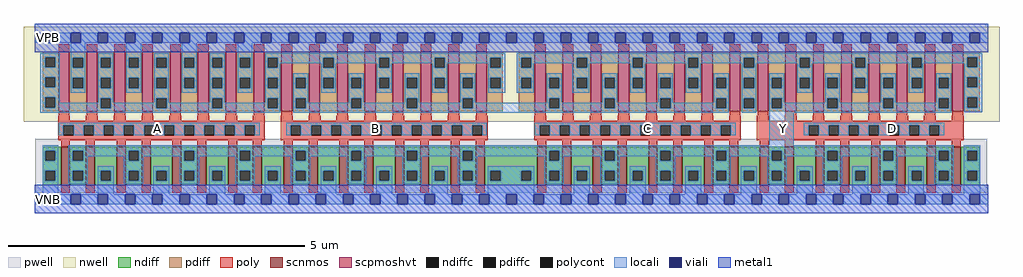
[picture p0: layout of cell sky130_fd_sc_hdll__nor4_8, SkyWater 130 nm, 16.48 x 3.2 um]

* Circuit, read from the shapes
.subckt sky130_fd_sc_hdll__nor4_8 A B C D VGND VNB VPB VPWR Y
XM1 Y A VGND VNB sky130_fd_pr__nfet_01v8 w=0.65 l=0.15 m=8
XM2 Y B VGND VNB sky130_fd_pr__nfet_01v8 w=0.65 l=0.15 m=8
XM3 Y C VGND VNB sky130_fd_pr__nfet_01v8 w=0.65 l=0.15 m=8
XM4 Y D VGND VNB sky130_fd_pr__nfet_01v8 w=0.65 l=0.15 m=8
XM5 VPWR A n1 VPB sky130_fd_pr__pfet_01v8_hvt w=1 l=0.18 m=8
XM6 n2 B n1 VPB sky130_fd_pr__pfet_01v8_hvt w=1 l=0.18 m=8
XM7 n2 C n3 VPB sky130_fd_pr__pfet_01v8_hvt w=1 l=0.18 m=8
XM8 Y D n3 VPB sky130_fd_pr__pfet_01v8_hvt w=1 l=0.18 m=8
.ends

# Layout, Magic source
magic
tech sky130A
magscale 1 2
<< nwell >>
rect -38 261 3258 582
<< pwell >>
rect 1 21 3217 203
rect 30 -17 64 21
<< scnmos >>
rect 89 47 119 177
rect 173 47 203 177
rect 277 47 307 177
rect 361 47 391 177
rect 465 47 495 177
rect 549 47 579 177
rect 653 47 683 177
rect 737 47 767 177
rect 841 47 871 177
rect 925 47 955 177
rect 1029 47 1059 177
rect 1113 47 1143 177
rect 1217 47 1247 177
rect 1301 47 1331 177
rect 1405 47 1435 177
rect 1489 47 1519 177
rect 1697 47 1727 177
rect 1781 47 1811 177
rect 1885 47 1915 177
rect 1969 47 1999 177
rect 2073 47 2103 177
rect 2157 47 2187 177
rect 2261 47 2291 177
rect 2345 47 2375 177
rect 2449 47 2479 177
rect 2533 47 2563 177
rect 2637 47 2667 177
rect 2721 47 2751 177
rect 2825 47 2855 177
rect 2909 47 2939 177
rect 3013 47 3043 177
rect 3097 47 3127 177
<< scpmoshvt >>
rect 81 297 117 497
rect 175 297 211 497
rect 269 297 305 497
rect 363 297 399 497
rect 457 297 493 497
rect 551 297 587 497
rect 645 297 681 497
rect 739 297 775 497
rect 833 297 869 497
rect 927 297 963 497
rect 1021 297 1057 497
rect 1115 297 1151 497
rect 1209 297 1245 497
rect 1303 297 1339 497
rect 1397 297 1433 497
rect 1491 297 1527 497
rect 1689 297 1725 497
rect 1783 297 1819 497
rect 1877 297 1913 497
rect 1971 297 2007 497
rect 2065 297 2101 497
rect 2159 297 2195 497
rect 2253 297 2289 497
rect 2347 297 2383 497
rect 2441 297 2477 497
rect 2535 297 2571 497
rect 2629 297 2665 497
rect 2723 297 2759 497
rect 2817 297 2853 497
rect 2911 297 2947 497
rect 3005 297 3041 497
rect 3099 297 3135 497
<< ndiff >>
rect 27 163 89 177
rect 27 129 35 163
rect 69 129 89 163
rect 27 95 89 129
rect 27 61 35 95
rect 69 61 89 95
rect 27 47 89 61
rect 119 163 173 177
rect 119 129 129 163
rect 163 129 173 163
rect 119 95 173 129
rect 119 61 129 95
rect 163 61 173 95
rect 119 47 173 61
rect 203 95 277 177
rect 203 61 223 95
rect 257 61 277 95
rect 203 47 277 61
rect 307 163 361 177
rect 307 129 317 163
rect 351 129 361 163
rect 307 95 361 129
rect 307 61 317 95
rect 351 61 361 95
rect 307 47 361 61
rect 391 95 465 177
rect 391 61 411 95
rect 445 61 465 95
rect 391 47 465 61
rect 495 163 549 177
rect 495 129 505 163
rect 539 129 549 163
rect 495 95 549 129
rect 495 61 505 95
rect 539 61 549 95
rect 495 47 549 61
rect 579 95 653 177
rect 579 61 599 95
rect 633 61 653 95
rect 579 47 653 61
rect 683 163 737 177
rect 683 129 693 163
rect 727 129 737 163
rect 683 95 737 129
rect 683 61 693 95
rect 727 61 737 95
rect 683 47 737 61
rect 767 95 841 177
rect 767 61 787 95
rect 821 61 841 95
rect 767 47 841 61
rect 871 163 925 177
rect 871 129 881 163
rect 915 129 925 163
rect 871 95 925 129
rect 871 61 881 95
rect 915 61 925 95
rect 871 47 925 61
rect 955 95 1029 177
rect 955 61 975 95
rect 1009 61 1029 95
rect 955 47 1029 61
rect 1059 163 1113 177
rect 1059 129 1069 163
rect 1103 129 1113 163
rect 1059 95 1113 129
rect 1059 61 1069 95
rect 1103 61 1113 95
rect 1059 47 1113 61
rect 1143 95 1217 177
rect 1143 61 1163 95
rect 1197 61 1217 95
rect 1143 47 1217 61
rect 1247 163 1301 177
rect 1247 129 1257 163
rect 1291 129 1301 163
rect 1247 95 1301 129
rect 1247 61 1257 95
rect 1291 61 1301 95
rect 1247 47 1301 61
rect 1331 95 1405 177
rect 1331 61 1351 95
rect 1385 61 1405 95
rect 1331 47 1405 61
rect 1435 163 1489 177
rect 1435 129 1445 163
rect 1479 129 1489 163
rect 1435 95 1489 129
rect 1435 61 1445 95
rect 1479 61 1489 95
rect 1435 47 1489 61
rect 1519 95 1697 177
rect 1519 61 1539 95
rect 1573 61 1643 95
rect 1677 61 1697 95
rect 1519 47 1697 61
rect 1727 163 1781 177
rect 1727 129 1737 163
rect 1771 129 1781 163
rect 1727 95 1781 129
rect 1727 61 1737 95
rect 1771 61 1781 95
rect 1727 47 1781 61
rect 1811 95 1885 177
rect 1811 61 1831 95
rect 1865 61 1885 95
rect 1811 47 1885 61
rect 1915 163 1969 177
rect 1915 129 1925 163
rect 1959 129 1969 163
rect 1915 95 1969 129
rect 1915 61 1925 95
rect 1959 61 1969 95
rect 1915 47 1969 61
rect 1999 95 2073 177
rect 1999 61 2019 95
rect 2053 61 2073 95
rect 1999 47 2073 61
rect 2103 163 2157 177
rect 2103 129 2113 163
rect 2147 129 2157 163
rect 2103 95 2157 129
rect 2103 61 2113 95
rect 2147 61 2157 95
rect 2103 47 2157 61
rect 2187 95 2261 177
rect 2187 61 2207 95
rect 2241 61 2261 95
rect 2187 47 2261 61
rect 2291 163 2345 177
rect 2291 129 2301 163
rect 2335 129 2345 163
rect 2291 95 2345 129
rect 2291 61 2301 95
rect 2335 61 2345 95
rect 2291 47 2345 61
rect 2375 95 2449 177
rect 2375 61 2395 95
rect 2429 61 2449 95
rect 2375 47 2449 61
rect 2479 163 2533 177
rect 2479 129 2489 163
rect 2523 129 2533 163
rect 2479 95 2533 129
rect 2479 61 2489 95
rect 2523 61 2533 95
rect 2479 47 2533 61
rect 2563 95 2637 177
rect 2563 61 2583 95
rect 2617 61 2637 95
rect 2563 47 2637 61
rect 2667 163 2721 177
rect 2667 129 2677 163
rect 2711 129 2721 163
rect 2667 95 2721 129
rect 2667 61 2677 95
rect 2711 61 2721 95
rect 2667 47 2721 61
rect 2751 95 2825 177
rect 2751 61 2771 95
rect 2805 61 2825 95
rect 2751 47 2825 61
rect 2855 163 2909 177
rect 2855 129 2865 163
rect 2899 129 2909 163
rect 2855 95 2909 129
rect 2855 61 2865 95
rect 2899 61 2909 95
rect 2855 47 2909 61
rect 2939 95 3013 177
rect 2939 61 2961 95
rect 2995 61 3013 95
rect 2939 47 3013 61
rect 3043 163 3097 177
rect 3043 129 3053 163
rect 3087 129 3097 163
rect 3043 95 3097 129
rect 3043 61 3053 95
rect 3087 61 3097 95
rect 3043 47 3097 61
rect 3127 163 3191 177
rect 3127 129 3149 163
rect 3183 129 3191 163
rect 3127 95 3191 129
rect 3127 61 3149 95
rect 3183 61 3191 95
rect 3127 47 3191 61
<< pdiff >>
rect 27 479 81 497
rect 27 445 35 479
rect 69 445 81 479
rect 27 411 81 445
rect 27 377 35 411
rect 69 377 81 411
rect 27 343 81 377
rect 27 309 35 343
rect 69 309 81 343
rect 27 297 81 309
rect 117 477 175 497
rect 117 443 129 477
rect 163 443 175 477
rect 117 409 175 443
rect 117 375 129 409
rect 163 375 175 409
rect 117 297 175 375
rect 211 477 269 497
rect 211 443 223 477
rect 257 443 269 477
rect 211 409 269 443
rect 211 375 223 409
rect 257 375 269 409
rect 211 341 269 375
rect 211 307 223 341
rect 257 307 269 341
rect 211 297 269 307
rect 305 477 363 497
rect 305 443 317 477
rect 351 443 363 477
rect 305 409 363 443
rect 305 375 317 409
rect 351 375 363 409
rect 305 297 363 375
rect 399 477 457 497
rect 399 443 411 477
rect 445 443 457 477
rect 399 409 457 443
rect 399 375 411 409
rect 445 375 457 409
rect 399 341 457 375
rect 399 307 411 341
rect 445 307 457 341
rect 399 297 457 307
rect 493 477 551 497
rect 493 443 505 477
rect 539 443 551 477
rect 493 409 551 443
rect 493 375 505 409
rect 539 375 551 409
rect 493 297 551 375
rect 587 477 645 497
rect 587 443 599 477
rect 633 443 645 477
rect 587 409 645 443
rect 587 375 599 409
rect 633 375 645 409
rect 587 341 645 375
rect 587 307 599 341
rect 633 307 645 341
rect 587 297 645 307
rect 681 477 739 497
rect 681 443 693 477
rect 727 443 739 477
rect 681 409 739 443
rect 681 375 693 409
rect 727 375 739 409
rect 681 297 739 375
rect 775 477 833 497
rect 775 443 787 477
rect 821 443 833 477
rect 775 409 833 443
rect 775 375 787 409
rect 821 375 833 409
rect 775 341 833 375
rect 775 307 787 341
rect 821 307 833 341
rect 775 297 833 307
rect 869 409 927 497
rect 869 375 881 409
rect 915 375 927 409
rect 869 341 927 375
rect 869 307 881 341
rect 915 307 927 341
rect 869 297 927 307
rect 963 477 1021 497
rect 963 443 975 477
rect 1009 443 1021 477
rect 963 409 1021 443
rect 963 375 975 409
rect 1009 375 1021 409
rect 963 297 1021 375
rect 1057 409 1115 497
rect 1057 375 1069 409
rect 1103 375 1115 409
rect 1057 341 1115 375
rect 1057 307 1069 341
rect 1103 307 1115 341
rect 1057 297 1115 307
rect 1151 477 1209 497
rect 1151 443 1163 477
rect 1197 443 1209 477
rect 1151 409 1209 443
rect 1151 375 1163 409
rect 1197 375 1209 409
rect 1151 297 1209 375
rect 1245 409 1303 497
rect 1245 375 1257 409
rect 1291 375 1303 409
rect 1245 341 1303 375
rect 1245 307 1257 341
rect 1291 307 1303 341
rect 1245 297 1303 307
rect 1339 477 1397 497
rect 1339 443 1351 477
rect 1385 443 1397 477
rect 1339 409 1397 443
rect 1339 375 1351 409
rect 1385 375 1397 409
rect 1339 297 1397 375
rect 1433 409 1491 497
rect 1433 375 1445 409
rect 1479 375 1491 409
rect 1433 341 1491 375
rect 1433 307 1445 341
rect 1479 307 1491 341
rect 1433 297 1491 307
rect 1527 477 1581 497
rect 1527 443 1539 477
rect 1573 443 1581 477
rect 1527 409 1581 443
rect 1527 375 1539 409
rect 1573 375 1581 409
rect 1527 297 1581 375
rect 1635 477 1689 497
rect 1635 443 1643 477
rect 1677 443 1689 477
rect 1635 409 1689 443
rect 1635 375 1643 409
rect 1677 375 1689 409
rect 1635 297 1689 375
rect 1725 409 1783 497
rect 1725 375 1737 409
rect 1771 375 1783 409
rect 1725 341 1783 375
rect 1725 307 1737 341
rect 1771 307 1783 341
rect 1725 297 1783 307
rect 1819 477 1877 497
rect 1819 443 1831 477
rect 1865 443 1877 477
rect 1819 409 1877 443
rect 1819 375 1831 409
rect 1865 375 1877 409
rect 1819 297 1877 375
rect 1913 409 1971 497
rect 1913 375 1925 409
rect 1959 375 1971 409
rect 1913 341 1971 375
rect 1913 307 1925 341
rect 1959 307 1971 341
rect 1913 297 1971 307
rect 2007 477 2065 497
rect 2007 443 2019 477
rect 2053 443 2065 477
rect 2007 409 2065 443
rect 2007 375 2019 409
rect 2053 375 2065 409
rect 2007 297 2065 375
rect 2101 409 2159 497
rect 2101 375 2113 409
rect 2147 375 2159 409
rect 2101 341 2159 375
rect 2101 307 2113 341
rect 2147 307 2159 341
rect 2101 297 2159 307
rect 2195 477 2253 497
rect 2195 443 2207 477
rect 2241 443 2253 477
rect 2195 409 2253 443
rect 2195 375 2207 409
rect 2241 375 2253 409
rect 2195 297 2253 375
rect 2289 409 2347 497
rect 2289 375 2301 409
rect 2335 375 2347 409
rect 2289 341 2347 375
rect 2289 307 2301 341
rect 2335 307 2347 341
rect 2289 297 2347 307
rect 2383 477 2441 497
rect 2383 443 2395 477
rect 2429 443 2441 477
rect 2383 409 2441 443
rect 2383 375 2395 409
rect 2429 375 2441 409
rect 2383 341 2441 375
rect 2383 307 2395 341
rect 2429 307 2441 341
rect 2383 297 2441 307
rect 2477 409 2535 497
rect 2477 375 2489 409
rect 2523 375 2535 409
rect 2477 341 2535 375
rect 2477 307 2489 341
rect 2523 307 2535 341
rect 2477 297 2535 307
rect 2571 477 2629 497
rect 2571 443 2583 477
rect 2617 443 2629 477
rect 2571 409 2629 443
rect 2571 375 2583 409
rect 2617 375 2629 409
rect 2571 297 2629 375
rect 2665 409 2723 497
rect 2665 375 2677 409
rect 2711 375 2723 409
rect 2665 341 2723 375
rect 2665 307 2677 341
rect 2711 307 2723 341
rect 2665 297 2723 307
rect 2759 477 2817 497
rect 2759 443 2771 477
rect 2805 443 2817 477
rect 2759 409 2817 443
rect 2759 375 2771 409
rect 2805 375 2817 409
rect 2759 297 2817 375
rect 2853 409 2911 497
rect 2853 375 2865 409
rect 2899 375 2911 409
rect 2853 341 2911 375
rect 2853 307 2865 341
rect 2899 307 2911 341
rect 2853 297 2911 307
rect 2947 477 3005 497
rect 2947 443 2961 477
rect 2995 443 3005 477
rect 2947 409 3005 443
rect 2947 375 2961 409
rect 2995 375 3005 409
rect 2947 297 3005 375
rect 3041 409 3099 497
rect 3041 375 3053 409
rect 3087 375 3099 409
rect 3041 341 3099 375
rect 3041 307 3053 341
rect 3087 307 3099 341
rect 3041 297 3099 307
rect 3135 479 3191 497
rect 3135 445 3149 479
rect 3183 445 3191 479
rect 3135 411 3191 445
rect 3135 377 3149 411
rect 3183 377 3191 411
rect 3135 343 3191 377
rect 3135 309 3149 343
rect 3183 309 3191 343
rect 3135 297 3191 309
<< ndiffc >>
rect 35 129 69 163
rect 35 61 69 95
rect 129 129 163 163
rect 129 61 163 95
rect 223 61 257 95
rect 317 129 351 163
rect 317 61 351 95
rect 411 61 445 95
rect 505 129 539 163
rect 505 61 539 95
rect 599 61 633 95
rect 693 129 727 163
rect 693 61 727 95
rect 787 61 821 95
rect 881 129 915 163
rect 881 61 915 95
rect 975 61 1009 95
rect 1069 129 1103 163
rect 1069 61 1103 95
rect 1163 61 1197 95
rect 1257 129 1291 163
rect 1257 61 1291 95
rect 1351 61 1385 95
rect 1445 129 1479 163
rect 1445 61 1479 95
rect 1539 61 1573 95
rect 1643 61 1677 95
rect 1737 129 1771 163
rect 1737 61 1771 95
rect 1831 61 1865 95
rect 1925 129 1959 163
rect 1925 61 1959 95
rect 2019 61 2053 95
rect 2113 129 2147 163
rect 2113 61 2147 95
rect 2207 61 2241 95
rect 2301 129 2335 163
rect 2301 61 2335 95
rect 2395 61 2429 95
rect 2489 129 2523 163
rect 2489 61 2523 95
rect 2583 61 2617 95
rect 2677 129 2711 163
rect 2677 61 2711 95
rect 2771 61 2805 95
rect 2865 129 2899 163
rect 2865 61 2899 95
rect 2961 61 2995 95
rect 3053 129 3087 163
rect 3053 61 3087 95
rect 3149 129 3183 163
rect 3149 61 3183 95
<< pdiffc >>
rect 35 445 69 479
rect 35 377 69 411
rect 35 309 69 343
rect 129 443 163 477
rect 129 375 163 409
rect 223 443 257 477
rect 223 375 257 409
rect 223 307 257 341
rect 317 443 351 477
rect 317 375 351 409
rect 411 443 445 477
rect 411 375 445 409
rect 411 307 445 341
rect 505 443 539 477
rect 505 375 539 409
rect 599 443 633 477
rect 599 375 633 409
rect 599 307 633 341
rect 693 443 727 477
rect 693 375 727 409
rect 787 443 821 477
rect 787 375 821 409
rect 787 307 821 341
rect 881 375 915 409
rect 881 307 915 341
rect 975 443 1009 477
rect 975 375 1009 409
rect 1069 375 1103 409
rect 1069 307 1103 341
rect 1163 443 1197 477
rect 1163 375 1197 409
rect 1257 375 1291 409
rect 1257 307 1291 341
rect 1351 443 1385 477
rect 1351 375 1385 409
rect 1445 375 1479 409
rect 1445 307 1479 341
rect 1539 443 1573 477
rect 1539 375 1573 409
rect 1643 443 1677 477
rect 1643 375 1677 409
rect 1737 375 1771 409
rect 1737 307 1771 341
rect 1831 443 1865 477
rect 1831 375 1865 409
rect 1925 375 1959 409
rect 1925 307 1959 341
rect 2019 443 2053 477
rect 2019 375 2053 409
rect 2113 375 2147 409
rect 2113 307 2147 341
rect 2207 443 2241 477
rect 2207 375 2241 409
rect 2301 375 2335 409
rect 2301 307 2335 341
rect 2395 443 2429 477
rect 2395 375 2429 409
rect 2395 307 2429 341
rect 2489 375 2523 409
rect 2489 307 2523 341
rect 2583 443 2617 477
rect 2583 375 2617 409
rect 2677 375 2711 409
rect 2677 307 2711 341
rect 2771 443 2805 477
rect 2771 375 2805 409
rect 2865 375 2899 409
rect 2865 307 2899 341
rect 2961 443 2995 477
rect 2961 375 2995 409
rect 3053 375 3087 409
rect 3053 307 3087 341
rect 3149 445 3183 479
rect 3149 377 3183 411
rect 3149 309 3183 343
<< poly >>
rect 81 497 117 523
rect 175 497 211 523
rect 269 497 305 523
rect 363 497 399 523
rect 457 497 493 523
rect 551 497 587 523
rect 645 497 681 523
rect 739 497 775 523
rect 833 497 869 523
rect 927 497 963 523
rect 1021 497 1057 523
rect 1115 497 1151 523
rect 1209 497 1245 523
rect 1303 497 1339 523
rect 1397 497 1433 523
rect 1491 497 1527 523
rect 1689 497 1725 523
rect 1783 497 1819 523
rect 1877 497 1913 523
rect 1971 497 2007 523
rect 2065 497 2101 523
rect 2159 497 2195 523
rect 2253 497 2289 523
rect 2347 497 2383 523
rect 2441 497 2477 523
rect 2535 497 2571 523
rect 2629 497 2665 523
rect 2723 497 2759 523
rect 2817 497 2853 523
rect 2911 497 2947 523
rect 3005 497 3041 523
rect 3099 497 3135 523
rect 81 282 117 297
rect 175 282 211 297
rect 269 282 305 297
rect 363 282 399 297
rect 457 282 493 297
rect 551 282 587 297
rect 645 282 681 297
rect 739 282 775 297
rect 833 282 869 297
rect 927 282 963 297
rect 1021 282 1057 297
rect 1115 282 1151 297
rect 1209 282 1245 297
rect 1303 282 1339 297
rect 1397 282 1433 297
rect 1491 282 1527 297
rect 1689 282 1725 297
rect 1783 282 1819 297
rect 1877 282 1913 297
rect 1971 282 2007 297
rect 2065 282 2101 297
rect 2159 282 2195 297
rect 2253 282 2289 297
rect 2347 282 2383 297
rect 2441 282 2477 297
rect 2535 282 2571 297
rect 2629 282 2665 297
rect 2723 282 2759 297
rect 2817 282 2853 297
rect 2911 282 2947 297
rect 3005 282 3041 297
rect 3099 282 3135 297
rect 79 265 119 282
rect 173 265 213 282
rect 267 265 307 282
rect 361 265 401 282
rect 455 265 495 282
rect 549 265 589 282
rect 643 265 683 282
rect 737 265 777 282
rect 79 249 777 265
rect 79 215 97 249
rect 131 215 165 249
rect 199 215 233 249
rect 267 215 301 249
rect 335 215 369 249
rect 403 215 437 249
rect 471 215 505 249
rect 539 215 573 249
rect 607 215 641 249
rect 675 215 709 249
rect 743 215 777 249
rect 79 199 777 215
rect 831 265 871 282
rect 925 265 965 282
rect 1019 265 1059 282
rect 1113 265 1153 282
rect 1207 265 1247 282
rect 1301 265 1341 282
rect 1395 265 1435 282
rect 1489 265 1529 282
rect 831 249 1529 265
rect 831 215 865 249
rect 899 215 933 249
rect 967 215 1001 249
rect 1035 215 1069 249
rect 1103 215 1137 249
rect 1171 215 1205 249
rect 1239 215 1273 249
rect 1307 215 1341 249
rect 1375 215 1409 249
rect 1443 215 1477 249
rect 1511 215 1529 249
rect 831 199 1529 215
rect 1687 265 1727 282
rect 1781 265 1821 282
rect 1875 265 1915 282
rect 1969 265 2009 282
rect 2063 265 2103 282
rect 2157 265 2197 282
rect 2251 265 2291 282
rect 2345 265 2385 282
rect 1687 249 2385 265
rect 1687 215 1705 249
rect 1739 215 1773 249
rect 1807 215 1841 249
rect 1875 215 1909 249
rect 1943 215 1977 249
rect 2011 215 2045 249
rect 2079 215 2113 249
rect 2147 215 2181 249
rect 2215 215 2249 249
rect 2283 215 2317 249
rect 2351 215 2385 249
rect 1687 199 2385 215
rect 2439 265 2479 282
rect 2533 265 2573 282
rect 2627 265 2667 282
rect 2721 265 2761 282
rect 2815 265 2855 282
rect 2909 265 2949 282
rect 3003 265 3043 282
rect 3097 265 3137 282
rect 2439 249 3137 265
rect 2439 215 2613 249
rect 2647 215 2681 249
rect 2715 215 2749 249
rect 2783 215 2817 249
rect 2851 215 2885 249
rect 2919 215 2953 249
rect 2987 215 3021 249
rect 3055 215 3137 249
rect 2439 199 3137 215
rect 89 177 119 199
rect 173 177 203 199
rect 277 177 307 199
rect 361 177 391 199
rect 465 177 495 199
rect 549 177 579 199
rect 653 177 683 199
rect 737 177 767 199
rect 841 177 871 199
rect 925 177 955 199
rect 1029 177 1059 199
rect 1113 177 1143 199
rect 1217 177 1247 199
rect 1301 177 1331 199
rect 1405 177 1435 199
rect 1489 177 1519 199
rect 1697 177 1727 199
rect 1781 177 1811 199
rect 1885 177 1915 199
rect 1969 177 1999 199
rect 2073 177 2103 199
rect 2157 177 2187 199
rect 2261 177 2291 199
rect 2345 177 2375 199
rect 2449 177 2479 199
rect 2533 177 2563 199
rect 2637 177 2667 199
rect 2721 177 2751 199
rect 2825 177 2855 199
rect 2909 177 2939 199
rect 3013 177 3043 199
rect 3097 177 3127 199
rect 89 21 119 47
rect 173 21 203 47
rect 277 21 307 47
rect 361 21 391 47
rect 465 21 495 47
rect 549 21 579 47
rect 653 21 683 47
rect 737 21 767 47
rect 841 21 871 47
rect 925 21 955 47
rect 1029 21 1059 47
rect 1113 21 1143 47
rect 1217 21 1247 47
rect 1301 21 1331 47
rect 1405 21 1435 47
rect 1489 21 1519 47
rect 1697 21 1727 47
rect 1781 21 1811 47
rect 1885 21 1915 47
rect 1969 21 1999 47
rect 2073 21 2103 47
rect 2157 21 2187 47
rect 2261 21 2291 47
rect 2345 21 2375 47
rect 2449 21 2479 47
rect 2533 21 2563 47
rect 2637 21 2667 47
rect 2721 21 2751 47
rect 2825 21 2855 47
rect 2909 21 2939 47
rect 3013 21 3043 47
rect 3097 21 3127 47
<< polycont >>
rect 97 215 131 249
rect 165 215 199 249
rect 233 215 267 249
rect 301 215 335 249
rect 369 215 403 249
rect 437 215 471 249
rect 505 215 539 249
rect 573 215 607 249
rect 641 215 675 249
rect 709 215 743 249
rect 865 215 899 249
rect 933 215 967 249
rect 1001 215 1035 249
rect 1069 215 1103 249
rect 1137 215 1171 249
rect 1205 215 1239 249
rect 1273 215 1307 249
rect 1341 215 1375 249
rect 1409 215 1443 249
rect 1477 215 1511 249
rect 1705 215 1739 249
rect 1773 215 1807 249
rect 1841 215 1875 249
rect 1909 215 1943 249
rect 1977 215 2011 249
rect 2045 215 2079 249
rect 2113 215 2147 249
rect 2181 215 2215 249
rect 2249 215 2283 249
rect 2317 215 2351 249
rect 2613 215 2647 249
rect 2681 215 2715 249
rect 2749 215 2783 249
rect 2817 215 2851 249
rect 2885 215 2919 249
rect 2953 215 2987 249
rect 3021 215 3055 249
<< locali >>
rect 0 527 29 561
rect 63 527 121 561
rect 155 527 213 561
rect 247 527 305 561
rect 339 527 397 561
rect 431 527 489 561
rect 523 527 581 561
rect 615 527 673 561
rect 707 527 765 561
rect 799 527 857 561
rect 891 527 949 561
rect 983 527 1041 561
rect 1075 527 1133 561
rect 1167 527 1225 561
rect 1259 527 1317 561
rect 1351 527 1409 561
rect 1443 527 1501 561
rect 1535 527 1593 561
rect 1627 527 1685 561
rect 1719 527 1777 561
rect 1811 527 1869 561
rect 1903 527 1961 561
rect 1995 527 2053 561
rect 2087 527 2145 561
rect 2179 527 2237 561
rect 2271 527 2329 561
rect 2363 527 2421 561
rect 2455 527 2513 561
rect 2547 527 2605 561
rect 2639 527 2697 561
rect 2731 527 2789 561
rect 2823 527 2881 561
rect 2915 527 2973 561
rect 3007 527 3065 561
rect 3099 527 3157 561
rect 3191 527 3220 561
rect 19 479 85 493
rect 19 445 35 479
rect 69 445 85 479
rect 19 411 85 445
rect 19 377 35 411
rect 69 377 85 411
rect 19 343 85 377
rect 121 477 171 527
rect 121 443 129 477
rect 163 443 171 477
rect 121 409 171 443
rect 121 375 129 409
rect 163 375 171 409
rect 121 359 171 375
rect 215 477 265 493
rect 215 443 223 477
rect 257 443 265 477
rect 215 409 265 443
rect 215 375 223 409
rect 257 375 265 409
rect 19 309 35 343
rect 69 325 85 343
rect 215 341 265 375
rect 309 477 359 527
rect 309 443 317 477
rect 351 443 359 477
rect 309 409 359 443
rect 309 375 317 409
rect 351 375 359 409
rect 309 359 359 375
rect 403 477 453 493
rect 403 443 411 477
rect 445 443 453 477
rect 403 409 453 443
rect 403 375 411 409
rect 445 375 453 409
rect 215 325 223 341
rect 69 309 223 325
rect 19 307 223 309
rect 257 325 265 341
rect 403 341 453 375
rect 497 477 547 527
rect 497 443 505 477
rect 539 443 547 477
rect 497 409 547 443
rect 497 375 505 409
rect 539 375 547 409
rect 497 359 547 375
rect 591 477 641 493
rect 591 443 599 477
rect 633 443 641 477
rect 591 409 641 443
rect 591 375 599 409
rect 633 375 641 409
rect 403 325 411 341
rect 257 307 411 325
rect 445 325 453 341
rect 591 341 641 375
rect 685 477 735 527
rect 685 443 693 477
rect 727 443 735 477
rect 685 409 735 443
rect 685 375 693 409
rect 727 375 735 409
rect 685 359 735 375
rect 779 477 1589 493
rect 779 443 787 477
rect 821 459 975 477
rect 821 443 829 459
rect 779 409 829 443
rect 967 443 975 459
rect 1009 459 1163 477
rect 1009 443 1017 459
rect 779 375 787 409
rect 821 375 829 409
rect 591 325 599 341
rect 445 307 599 325
rect 633 325 641 341
rect 779 341 829 375
rect 779 325 787 341
rect 633 307 787 325
rect 821 307 829 341
rect 19 291 829 307
rect 873 409 923 425
rect 873 375 881 409
rect 915 375 923 409
rect 873 341 923 375
rect 967 409 1017 443
rect 1155 443 1163 459
rect 1197 459 1351 477
rect 1197 443 1205 459
rect 967 375 975 409
rect 1009 375 1017 409
rect 967 359 1017 375
rect 1061 409 1111 425
rect 1061 375 1069 409
rect 1103 375 1111 409
rect 873 307 881 341
rect 915 325 923 341
rect 1061 341 1111 375
rect 1155 409 1205 443
rect 1343 443 1351 459
rect 1385 459 1539 477
rect 1385 443 1393 459
rect 1155 375 1163 409
rect 1197 375 1205 409
rect 1155 359 1205 375
rect 1249 409 1299 425
rect 1249 375 1257 409
rect 1291 375 1299 409
rect 1061 325 1069 341
rect 915 307 1069 325
rect 1103 325 1111 341
rect 1249 341 1299 375
rect 1343 409 1393 443
rect 1531 443 1539 459
rect 1573 443 1589 477
rect 1343 375 1351 409
rect 1385 375 1393 409
rect 1343 359 1393 375
rect 1437 409 1487 425
rect 1437 375 1445 409
rect 1479 375 1487 409
rect 1249 325 1257 341
rect 1103 307 1257 325
rect 1291 325 1299 341
rect 1437 341 1487 375
rect 1531 409 1589 443
rect 1531 375 1539 409
rect 1573 375 1589 409
rect 1531 359 1589 375
rect 1627 479 3199 493
rect 1627 477 3149 479
rect 1627 443 1643 477
rect 1677 459 1831 477
rect 1677 443 1685 459
rect 1627 409 1685 443
rect 1815 443 1831 459
rect 1865 459 2019 477
rect 1865 443 1873 459
rect 1627 375 1643 409
rect 1677 375 1685 409
rect 1627 359 1685 375
rect 1729 409 1779 425
rect 1729 375 1737 409
rect 1771 375 1779 409
rect 1437 325 1445 341
rect 1291 307 1445 325
rect 1479 325 1487 341
rect 1729 341 1779 375
rect 1815 409 1873 443
rect 2011 443 2019 459
rect 2053 459 2207 477
rect 2053 443 2061 459
rect 1815 375 1831 409
rect 1865 375 1873 409
rect 1815 359 1873 375
rect 1917 409 1967 425
rect 1917 375 1925 409
rect 1959 375 1967 409
rect 1729 325 1737 341
rect 1479 307 1737 325
rect 1771 325 1779 341
rect 1917 341 1967 375
rect 2011 409 2061 443
rect 2199 443 2207 459
rect 2241 459 2395 477
rect 2241 443 2249 459
rect 2011 375 2019 409
rect 2053 375 2061 409
rect 2011 359 2061 375
rect 2105 409 2155 425
rect 2105 375 2113 409
rect 2147 375 2155 409
rect 1917 325 1925 341
rect 1771 307 1925 325
rect 1959 325 1967 341
rect 2105 341 2155 375
rect 2199 409 2249 443
rect 2387 443 2395 459
rect 2429 459 2583 477
rect 2429 443 2437 459
rect 2199 375 2207 409
rect 2241 375 2249 409
rect 2199 359 2249 375
rect 2293 409 2343 425
rect 2293 375 2301 409
rect 2335 375 2343 409
rect 2105 325 2113 341
rect 1959 307 2113 325
rect 2147 325 2155 341
rect 2293 341 2343 375
rect 2293 325 2301 341
rect 2147 307 2301 325
rect 2335 307 2343 341
rect 873 291 2343 307
rect 2387 409 2437 443
rect 2575 443 2583 459
rect 2617 459 2771 477
rect 2617 443 2625 459
rect 2387 375 2395 409
rect 2429 375 2437 409
rect 2387 341 2437 375
rect 2387 307 2395 341
rect 2429 307 2437 341
rect 2387 291 2437 307
rect 2481 409 2531 425
rect 2481 375 2489 409
rect 2523 375 2531 409
rect 2481 341 2531 375
rect 2575 409 2625 443
rect 2763 443 2771 459
rect 2805 459 2961 477
rect 2805 443 2813 459
rect 2575 375 2583 409
rect 2617 375 2625 409
rect 2575 359 2625 375
rect 2669 409 2719 425
rect 2669 375 2677 409
rect 2711 375 2719 409
rect 2481 307 2489 341
rect 2523 325 2531 341
rect 2669 341 2719 375
rect 2763 409 2813 443
rect 2951 443 2961 459
rect 2995 459 3149 477
rect 2995 443 3001 459
rect 2763 375 2771 409
rect 2805 375 2813 409
rect 2763 359 2813 375
rect 2857 409 2907 425
rect 2857 375 2865 409
rect 2899 375 2907 409
rect 2669 325 2677 341
rect 2523 307 2677 325
rect 2711 325 2719 341
rect 2857 341 2907 375
rect 2951 409 3001 443
rect 3139 445 3149 459
rect 3183 445 3199 479
rect 2951 375 2961 409
rect 2995 375 3001 409
rect 2951 359 3001 375
rect 3045 409 3095 425
rect 3045 375 3053 409
rect 3087 375 3095 409
rect 2857 325 2865 341
rect 2711 307 2865 325
rect 2899 325 2907 341
rect 3045 341 3095 375
rect 3045 325 3053 341
rect 2899 307 3053 325
rect 3087 307 3095 341
rect 2481 291 3095 307
rect 3139 411 3199 445
rect 3139 377 3149 411
rect 3183 377 3199 411
rect 3139 343 3199 377
rect 3139 309 3149 343
rect 3183 309 3199 343
rect 3139 293 3199 309
rect 81 249 759 257
rect 81 215 97 249
rect 131 215 165 249
rect 199 215 233 249
rect 267 215 301 249
rect 335 215 369 249
rect 403 215 437 249
rect 471 215 505 249
rect 539 215 573 249
rect 607 215 641 249
rect 675 215 709 249
rect 743 215 759 249
rect 849 249 1527 257
rect 849 215 865 249
rect 899 215 933 249
rect 967 215 1001 249
rect 1035 215 1069 249
rect 1103 215 1137 249
rect 1171 215 1205 249
rect 1239 215 1273 249
rect 1307 215 1341 249
rect 1375 215 1409 249
rect 1443 215 1477 249
rect 1511 215 1527 249
rect 1689 249 2367 257
rect 1689 215 1705 249
rect 1739 215 1773 249
rect 1807 215 1841 249
rect 1875 215 1909 249
rect 1943 215 1977 249
rect 2011 215 2045 249
rect 2079 215 2113 249
rect 2147 215 2181 249
rect 2215 215 2249 249
rect 2283 215 2317 249
rect 2351 215 2367 249
rect 2481 181 2563 291
rect 2597 249 3071 257
rect 2597 215 2613 249
rect 2647 215 2681 249
rect 2715 215 2749 249
rect 2783 215 2817 249
rect 2851 215 2885 249
rect 2919 215 2953 249
rect 2987 215 3021 249
rect 3055 215 3071 249
rect 27 163 79 181
rect 27 129 35 163
rect 69 129 79 163
rect 27 95 79 129
rect 27 61 35 95
rect 69 61 79 95
rect 27 17 79 61
rect 113 163 3103 181
rect 113 129 129 163
rect 163 145 317 163
rect 163 129 179 145
rect 113 95 179 129
rect 301 129 317 145
rect 351 145 505 163
rect 351 129 367 145
rect 113 61 129 95
rect 163 61 179 95
rect 113 51 179 61
rect 213 95 267 111
rect 213 61 223 95
rect 257 61 267 95
rect 213 17 267 61
rect 301 95 367 129
rect 489 129 505 145
rect 539 145 693 163
rect 539 129 555 145
rect 301 61 317 95
rect 351 61 367 95
rect 301 51 367 61
rect 401 95 455 111
rect 401 61 411 95
rect 445 61 455 95
rect 401 17 455 61
rect 489 95 555 129
rect 677 129 693 145
rect 727 145 881 163
rect 727 129 743 145
rect 489 61 505 95
rect 539 61 555 95
rect 489 51 555 61
rect 589 95 643 111
rect 589 61 599 95
rect 633 61 643 95
rect 589 17 643 61
rect 677 95 743 129
rect 865 129 881 145
rect 915 145 1069 163
rect 915 129 931 145
rect 677 61 693 95
rect 727 61 743 95
rect 677 51 743 61
rect 777 95 831 111
rect 777 61 787 95
rect 821 61 831 95
rect 777 17 831 61
rect 865 95 931 129
rect 1053 129 1069 145
rect 1103 145 1257 163
rect 1103 129 1119 145
rect 865 61 881 95
rect 915 61 931 95
rect 865 51 931 61
rect 965 95 1019 111
rect 965 61 975 95
rect 1009 61 1019 95
rect 965 17 1019 61
rect 1053 95 1119 129
rect 1241 129 1257 145
rect 1291 145 1445 163
rect 1291 129 1307 145
rect 1053 61 1069 95
rect 1103 61 1119 95
rect 1053 51 1119 61
rect 1153 95 1207 111
rect 1153 61 1163 95
rect 1197 61 1207 95
rect 1153 17 1207 61
rect 1241 95 1307 129
rect 1429 129 1445 145
rect 1479 145 1737 163
rect 1479 129 1495 145
rect 1241 61 1257 95
rect 1291 61 1307 95
rect 1241 51 1307 61
rect 1341 95 1395 111
rect 1341 61 1351 95
rect 1385 61 1395 95
rect 1341 17 1395 61
rect 1429 95 1495 129
rect 1721 129 1737 145
rect 1771 145 1925 163
rect 1771 129 1787 145
rect 1429 61 1445 95
rect 1479 61 1495 95
rect 1429 51 1495 61
rect 1529 95 1687 111
rect 1529 61 1539 95
rect 1573 61 1643 95
rect 1677 61 1687 95
rect 1529 17 1687 61
rect 1721 95 1787 129
rect 1909 129 1925 145
rect 1959 145 2113 163
rect 1959 129 1975 145
rect 1721 61 1737 95
rect 1771 61 1787 95
rect 1721 51 1787 61
rect 1821 95 1875 111
rect 1821 61 1831 95
rect 1865 61 1875 95
rect 1821 17 1875 61
rect 1909 95 1975 129
rect 2097 129 2113 145
rect 2147 145 2301 163
rect 2147 129 2163 145
rect 1909 61 1925 95
rect 1959 61 1975 95
rect 1909 51 1975 61
rect 2009 95 2063 111
rect 2009 61 2019 95
rect 2053 61 2063 95
rect 2009 17 2063 61
rect 2097 95 2163 129
rect 2285 129 2301 145
rect 2335 145 2489 163
rect 2335 129 2351 145
rect 2097 61 2113 95
rect 2147 61 2163 95
rect 2097 51 2163 61
rect 2197 95 2251 111
rect 2197 61 2207 95
rect 2241 61 2251 95
rect 2197 17 2251 61
rect 2285 95 2351 129
rect 2473 129 2489 145
rect 2523 145 2677 163
rect 2523 129 2539 145
rect 2285 61 2301 95
rect 2335 61 2351 95
rect 2285 51 2351 61
rect 2385 95 2439 111
rect 2385 61 2395 95
rect 2429 61 2439 95
rect 2385 17 2439 61
rect 2473 95 2539 129
rect 2661 129 2677 145
rect 2711 145 2865 163
rect 2711 129 2727 145
rect 2473 61 2489 95
rect 2523 61 2539 95
rect 2473 51 2539 61
rect 2573 95 2627 111
rect 2573 61 2583 95
rect 2617 61 2627 95
rect 2573 17 2627 61
rect 2661 95 2727 129
rect 2849 129 2865 145
rect 2899 145 3053 163
rect 2899 129 2915 145
rect 2661 61 2677 95
rect 2711 61 2727 95
rect 2661 51 2727 61
rect 2761 95 2815 111
rect 2761 61 2771 95
rect 2805 61 2815 95
rect 2761 17 2815 61
rect 2849 95 2915 129
rect 3037 129 3053 145
rect 3087 129 3103 163
rect 2849 61 2865 95
rect 2899 61 2915 95
rect 2849 51 2915 61
rect 2949 95 3003 111
rect 2949 61 2961 95
rect 2995 61 3003 95
rect 2949 17 3003 61
rect 3037 95 3103 129
rect 3037 61 3053 95
rect 3087 61 3103 95
rect 3037 51 3103 61
rect 3137 163 3193 181
rect 3137 129 3149 163
rect 3183 129 3193 163
rect 3137 95 3193 129
rect 3137 61 3149 95
rect 3183 61 3193 95
rect 3137 17 3193 61
rect 0 -17 29 17
rect 63 -17 121 17
rect 155 -17 213 17
rect 247 -17 305 17
rect 339 -17 397 17
rect 431 -17 489 17
rect 523 -17 581 17
rect 615 -17 673 17
rect 707 -17 765 17
rect 799 -17 857 17
rect 891 -17 949 17
rect 983 -17 1041 17
rect 1075 -17 1133 17
rect 1167 -17 1225 17
rect 1259 -17 1317 17
rect 1351 -17 1409 17
rect 1443 -17 1501 17
rect 1535 -17 1593 17
rect 1627 -17 1685 17
rect 1719 -17 1777 17
rect 1811 -17 1869 17
rect 1903 -17 1961 17
rect 1995 -17 2053 17
rect 2087 -17 2145 17
rect 2179 -17 2237 17
rect 2271 -17 2329 17
rect 2363 -17 2421 17
rect 2455 -17 2513 17
rect 2547 -17 2605 17
rect 2639 -17 2697 17
rect 2731 -17 2789 17
rect 2823 -17 2881 17
rect 2915 -17 2973 17
rect 3007 -17 3065 17
rect 3099 -17 3157 17
rect 3191 -17 3220 17
<< viali >>
rect 29 527 63 561
rect 121 527 155 561
rect 213 527 247 561
rect 305 527 339 561
rect 397 527 431 561
rect 489 527 523 561
rect 581 527 615 561
rect 673 527 707 561
rect 765 527 799 561
rect 857 527 891 561
rect 949 527 983 561
rect 1041 527 1075 561
rect 1133 527 1167 561
rect 1225 527 1259 561
rect 1317 527 1351 561
rect 1409 527 1443 561
rect 1501 527 1535 561
rect 1593 527 1627 561
rect 1685 527 1719 561
rect 1777 527 1811 561
rect 1869 527 1903 561
rect 1961 527 1995 561
rect 2053 527 2087 561
rect 2145 527 2179 561
rect 2237 527 2271 561
rect 2329 527 2363 561
rect 2421 527 2455 561
rect 2513 527 2547 561
rect 2605 527 2639 561
rect 2697 527 2731 561
rect 2789 527 2823 561
rect 2881 527 2915 561
rect 2973 527 3007 561
rect 3065 527 3099 561
rect 3157 527 3191 561
rect 29 -17 63 17
rect 121 -17 155 17
rect 213 -17 247 17
rect 305 -17 339 17
rect 397 -17 431 17
rect 489 -17 523 17
rect 581 -17 615 17
rect 673 -17 707 17
rect 765 -17 799 17
rect 857 -17 891 17
rect 949 -17 983 17
rect 1041 -17 1075 17
rect 1133 -17 1167 17
rect 1225 -17 1259 17
rect 1317 -17 1351 17
rect 1409 -17 1443 17
rect 1501 -17 1535 17
rect 1593 -17 1627 17
rect 1685 -17 1719 17
rect 1777 -17 1811 17
rect 1869 -17 1903 17
rect 1961 -17 1995 17
rect 2053 -17 2087 17
rect 2145 -17 2179 17
rect 2237 -17 2271 17
rect 2329 -17 2363 17
rect 2421 -17 2455 17
rect 2513 -17 2547 17
rect 2605 -17 2639 17
rect 2697 -17 2731 17
rect 2789 -17 2823 17
rect 2881 -17 2915 17
rect 2973 -17 3007 17
rect 3065 -17 3099 17
rect 3157 -17 3191 17
<< metal1 >>
rect 0 561 3220 592
rect 0 527 29 561
rect 63 527 121 561
rect 155 527 213 561
rect 247 527 305 561
rect 339 527 397 561
rect 431 527 489 561
rect 523 527 581 561
rect 615 527 673 561
rect 707 527 765 561
rect 799 527 857 561
rect 891 527 949 561
rect 983 527 1041 561
rect 1075 527 1133 561
rect 1167 527 1225 561
rect 1259 527 1317 561
rect 1351 527 1409 561
rect 1443 527 1501 561
rect 1535 527 1593 561
rect 1627 527 1685 561
rect 1719 527 1777 561
rect 1811 527 1869 561
rect 1903 527 1961 561
rect 1995 527 2053 561
rect 2087 527 2145 561
rect 2179 527 2237 561
rect 2271 527 2329 561
rect 2363 527 2421 561
rect 2455 527 2513 561
rect 2547 527 2605 561
rect 2639 527 2697 561
rect 2731 527 2789 561
rect 2823 527 2881 561
rect 2915 527 2973 561
rect 3007 527 3065 561
rect 3099 527 3157 561
rect 3191 527 3220 561
rect 0 496 3220 527
rect 0 17 3220 48
rect 0 -17 29 17
rect 63 -17 121 17
rect 155 -17 213 17
rect 247 -17 305 17
rect 339 -17 397 17
rect 431 -17 489 17
rect 523 -17 581 17
rect 615 -17 673 17
rect 707 -17 765 17
rect 799 -17 857 17
rect 891 -17 949 17
rect 983 -17 1041 17
rect 1075 -17 1133 17
rect 1167 -17 1225 17
rect 1259 -17 1317 17
rect 1351 -17 1409 17
rect 1443 -17 1501 17
rect 1535 -17 1593 17
rect 1627 -17 1685 17
rect 1719 -17 1777 17
rect 1811 -17 1869 17
rect 1903 -17 1961 17
rect 1995 -17 2053 17
rect 2087 -17 2145 17
rect 2179 -17 2237 17
rect 2271 -17 2329 17
rect 2363 -17 2421 17
rect 2455 -17 2513 17
rect 2547 -17 2605 17
rect 2639 -17 2697 17
rect 2731 -17 2789 17
rect 2823 -17 2881 17
rect 2915 -17 2973 17
rect 3007 -17 3065 17
rect 3099 -17 3157 17
rect 3191 -17 3220 17
rect 0 -48 3220 -17
<< labels >>
flabel locali s 397 221 431 255 0 FreeSans 200 0 0 0 A
port 1 nsew signal input
flabel locali s 2053 221 2087 255 0 FreeSans 200 0 0 0 C
port 3 nsew signal input
flabel locali s 2881 221 2915 255 0 FreeSans 200 0 0 0 D
port 4 nsew signal input
flabel locali s 1133 221 1167 255 0 FreeSans 200 0 0 0 B
port 2 nsew signal input
flabel locali s 2513 221 2547 255 0 FreeSans 200 0 0 0 Y
port 9 nsew signal output
flabel nwell s 30 527 64 561 0 FreeSans 200 0 0 0 VPB
port 7 nsew power bidirectional
flabel pwell s 30 -17 64 17 0 FreeSans 200 0 0 0 VNB
port 6 nsew ground bidirectional
flabel metal1 s 30 -17 64 17 0 FreeSans 200 0 0 0 VGND
port 5 nsew ground bidirectional
flabel metal1 s 30 527 64 561 0 FreeSans 200 0 0 0 VPWR
port 8 nsew power bidirectional
rlabel comment s 0 0 0 0 4 nor4_8
<< properties >>
string LEFsite unithd
string LEFclass CORE
string FIXED_BBOX 0 0 3220 544
string GDS_FILE $PDKPATH/libs.ref/sky130_fd_sc_hdll/gds/sky130_fd_sc_hdll.gds
string LEFsymmetry X Y R90
string GDS_END 3558328
string GDS_START 3534822
string LEFproperties maskLayoutSubType "abstract" prCellType "standard" originalViewName "layout"
<< end >>
